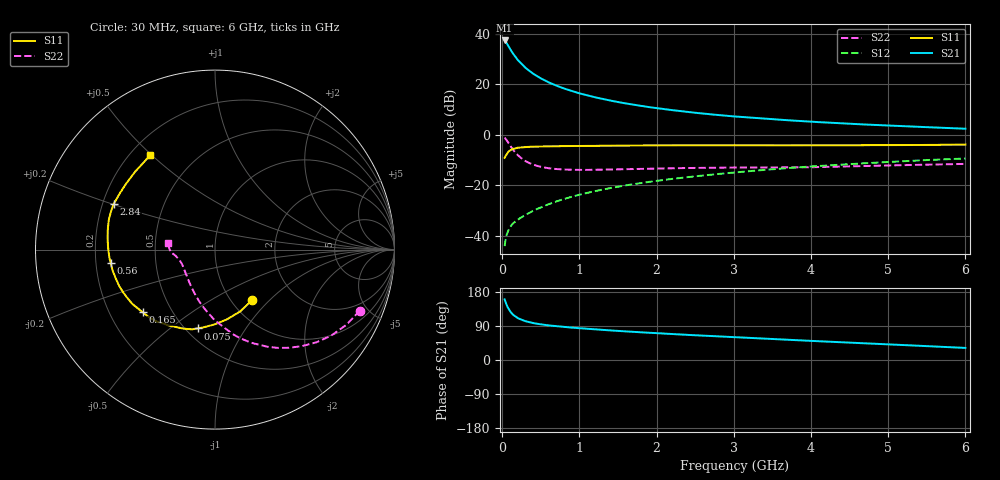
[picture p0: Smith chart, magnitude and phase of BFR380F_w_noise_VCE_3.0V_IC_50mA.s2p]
! Infineon Technologies  Discrete & RF Semiconductors
! BFR380F
! VCE =  3.0 V,  IC =  50 mA
! Common Emitter S-Parameters:  Nov 2015
# GHz  S  MA  R  50
!  f  S11  S21  S12  S22
! GHz  MAG  ANG  MAG  ANG  MAG  ANG  MAG  ANG
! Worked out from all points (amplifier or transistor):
!   206 points, 30 MHz to 6 GHz, reference 50 ohm
!   highest |S21| = 37.3 dB at 30 MHz (marker M1)
!   |S21| within 3 dB of that: start of sweep to 94.07 MHz
!   unconditionally stable (mu >= 1): 859.7 MHz to 4.847 GHz
!   at 200 MHz: K = 0.63, MSG = 31.6 dB, |S12| = -33.7 dB
!   at 1.56 GHz: K = 1.04, MAG = 15.3 dB, |S12| = -20.3 dB
!   at 6 GHz: K = 0.99, MSG = 5.9 dB, |S12| = -9.4 dB
!   lowest NFmin = 1.53 dB at 900 MHz
!   S11 on the Smith chart (normalised r, x): 30 MHz: 1.24, -0.79; 75 MHz: 0.57, -0.63; 165 MHz: 0.34, -0.33; 560 MHz: 0.26, -0.06; 2.84 GHz: 0.25, +0.20; 6 GHz: 0.28, +0.49
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0.03  0.3485 -53.5  73.38 160.0  0.0062 77.1  0.8762 -22.8
0.04  0.3715 -67.5  70.43 154.1  0.0079 73.0  0.8433 -29.8
0.05  0.3941 -80.2  67.27 148.3  0.0094 70.0  0.8056 -36.5
0.06  0.4169 -90.3  63.56 143.7  0.0108 66.8  0.7651 -42.5
0.075  0.4493 -102.3  58.23 137.4  0.0124 63.1  0.7038 -50.4
0.1  0.4847 -117.3  50.16 128.9  0.0148 59.2  0.6137 -61.8
0.12  0.5046 -125.8  44.75 123.7  0.0162 57.4  0.5527 -69.2
0.15  0.5284 -135.9  38.2 117.6  0.0181 56.4  0.4797 -78.3
0.165  0.5333 -139.2  35.76 115.8  0.0189 56.5  0.4523 -81.4
0.2  0.5514 -146.7  30.23 110.6  0.0207 56.8  0.3945 -90.1
0.26  0.5636 -154.7  24.17 105.4  0.0237 58.4  0.3305 -100.8
0.3  0.571 -159.0  21.11 102.4  0.0258 59.8  0.3006 -107.2
0.4  0.5783 -165.8  16.11 97.5  0.031 62.9  0.2553 -119.3
0.56  0.5863 -172.6  11.72 92.5  0.0398 66.5  0.2218 -133.0
0.8  0.5938 -179.2  8.204 87.1  0.0533 69.6  0.2041 -146.7
1.04  0.5984 176.3  6.346 83.1  0.0671 70.9  0.2008 -154.8
2.02  0.6152 163.6  3.32 70.6  0.123 70.6  0.2142 -167.7
2.84  0.6189 155.6  2.418 61.8  0.1691 68.2  0.2227 -171.3
3.1  0.6173 153.2  2.243 59.3  0.1838 67.1  0.2235 -171.6
4.1  0.6164 143.5  1.772 49.5  0.2399 62.5  0.2283 -172.6
5.1  0.6222 134.4  1.495 40.3  0.2933 57.5  0.2476 -177.7
6  0.6377 124.7  1.311 31.9  0.3376 52.0  0.2641 172.0
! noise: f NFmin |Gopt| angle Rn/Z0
0.45  1.55  0.41  -175  0.08
0.9  1.53  0.44  -174  0.07
1.8  1.72  0.48  -162  0.09
1.9  1.81  0.48  -163  0.09
2.4  1.87  0.49  -153  0.12
3.5  2.48  0.54  -144  0.2
